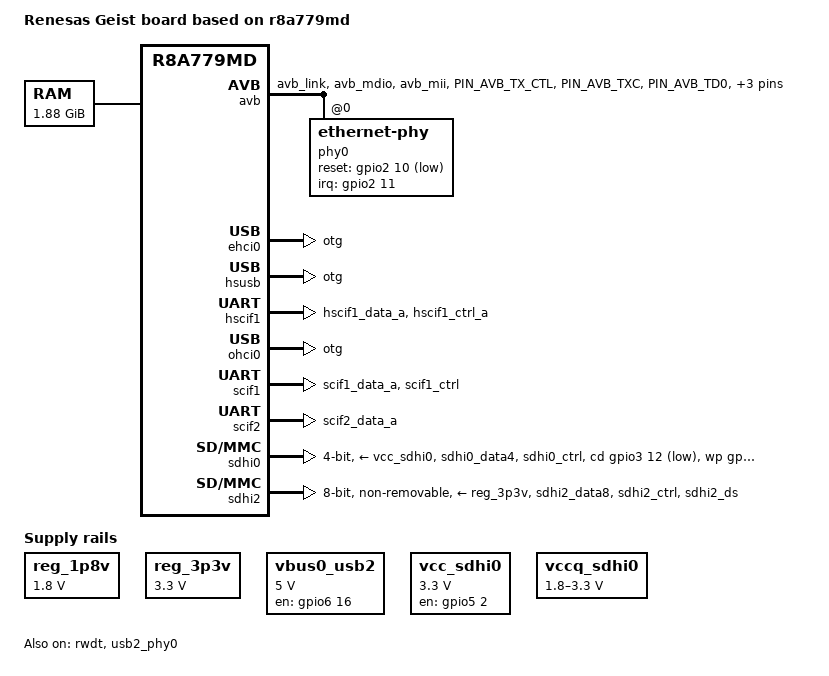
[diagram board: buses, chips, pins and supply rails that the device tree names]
// SPDX-License-Identifier: (GPL-2.0-only OR BSD-2-Clause)
/*
 * Device Tree Source for the Geist board with R-Car r8a779md
 *
 * Copyright (C) 2025 Renesas Electronics Corp.
 */

/dts-v1/;
#include <dt-bindings/gpio/gpio.h>
#include <dt-bindings/input/input.h>
#include "r8a779md.dtsi"

/ {
	model = "Renesas Geist board based on r8a779md";
	compatible = "renesas,geist", "renesas,r8a779md";

	aliases {
		serial0 = &scif2;
		serial1 = &hscif1;
		ethernet0 = &avb;
		mmc0 = &sdhi2;
		mmc1 = &sdhi0;
	};

	chosen {
		bootargs = "ignore_loglevel rw root=/dev/nfs ip=on";
		stdout-path = "serial0:115200n8";
	};

	memory@48000000 {
		device_type = "memory";
		/* first 128MB is reserved for secure area. */
		reg = <0x0 0x48000000 0x0 0x78000000>;
	};

	reg_1p8v: regulator0 {
		compatible = "regulator-fixed";
		regulator-name = "fixed-1.8V";
		regulator-min-microvolt = <1800000>;
		regulator-max-microvolt = <1800000>;
		regulator-boot-on;
		regulator-always-on;
	};

	reg_3p3v: regulator1 {
		compatible = "regulator-fixed";
		regulator-name = "fixed-3.3V";
		regulator-min-microvolt = <3300000>;
		regulator-max-microvolt = <3300000>;
		regulator-boot-on;
		regulator-always-on;
	};

	vbus0_usb2: regulator-vbus0-usb2 {
		compatible = "regulator-fixed";

		regulator-name = "USB20_VBUS0";
		regulator-min-microvolt = <5000000>;
		regulator-max-microvolt = <5000000>;

		gpio = <&gpio6 16 GPIO_ACTIVE_HIGH>;
		enable-active-high;
	};

	vcc_sdhi0: regulator-vcc-sdhi0 {
		compatible = "regulator-fixed";

		regulator-name = "SDHI0 Vcc";
		regulator-min-microvolt = <3300000>;
		regulator-max-microvolt = <3300000>;

		gpio = <&gpio5 2 GPIO_ACTIVE_HIGH>;
		enable-active-high;
	};

	vccq_sdhi0: regulator-vccq-sdhi0 {
		compatible = "regulator-gpio";

		regulator-name = "SDHI0 VccQ";
		regulator-min-microvolt = <1800000>;
		regulator-max-microvolt = <3300000>;

		gpios = <&gpio5 1 GPIO_ACTIVE_HIGH>;
		gpios-states = <1>;
		states = <3300000 1>, <1800000 0>;
	};
};

&avb {
	pinctrl-0 = <&avb_pins>;
	pinctrl-names = "default";
	phy-handle = <&phy0>;
	phy-mode = "rgmii-txid";
	status = "okay";

	phy0: ethernet-phy@0 {
		rxc-skew-ps = <1500>;
		reg = <0>;
		interrupt-parent = <&gpio2>;
		interrupts = <11 IRQ_TYPE_LEVEL_LOW>;
		reset-gpios = <&gpio2 10 GPIO_ACTIVE_LOW>;
	};
};

&ehci0 {
	dr_mode = "otg";
	status = "okay";
};

&hsusb {
	dr_mode = "otg";
	status = "okay";
};

&extalr_clk {
	clock-frequency = <32768>;
};

&hscif1 {
	pinctrl-0 = <&hscif1_pins>;
	pinctrl-names = "default";

	uart-has-rtscts;
	/* Please only enable hscif1 or scif1 */
	status = "okay";
};

&ohci0 {
	dr_mode = "otg";
	status = "okay";
};

&pfc {
	pinctrl-0 = <&scif_clk_pins>;
	pinctrl-names = "default";

	avb_pins: avb {
		mux {
			groups = "avb_link", "avb_mdio", "avb_mii";
			function = "avb";
		};

		pins_mdio {
			groups = "avb_mdio";
			drive-strength = <24>;
		};

		pins_mii_tx {
			pins = "PIN_AVB_TX_CTL", "PIN_AVB_TXC", "PIN_AVB_TD0",
			       "PIN_AVB_TD1", "PIN_AVB_TD2", "PIN_AVB_TD3";
			drive-strength = <12>;
		};
	};

	hscif1_pins: hscif1 {
		groups = "hscif1_data_a", "hscif1_ctrl_a";
		function = "hscif1";
	};

	scif1_pins: scif1 {
		groups = "scif1_data_a", "scif1_ctrl";
		function = "scif1";
	};

	scif2_pins: scif2 {
		groups = "scif2_data_a";
		function = "scif2";
	};

	scif_clk_pins: scif_clk {
		groups = "scif_clk_a";
		function = "scif_clk";
	};

	sdhi0_pins: sd0 {
		groups = "sdhi0_data4", "sdhi0_ctrl";
		function = "sdhi0";
		power-source = <3300>;
	};

	sdhi0_pins_uhs: sd0_uhs {
		groups = "sdhi0_data4", "sdhi0_ctrl";
		function = "sdhi0";
		power-source = <1800>;
	};

	sdhi2_pins: sd2 {
		groups = "sdhi2_data8", "sdhi2_ctrl", "sdhi2_ds";
		function = "sdhi2";
		power-source = <1800>;
	};

	usb0_pins: usb0 {
		groups = "usb0";
		function = "usb0";
	};
};

&rwdt {
	timeout-sec = <60>;
	status = "okay";
};

&scif1 {
	pinctrl-0 = <&scif1_pins>;
	pinctrl-names = "default";

	uart-has-rtscts;
	/* Please only enable hscif1 or scif1 */
	/* status = "okay"; */
};

&scif2 {
	pinctrl-0 = <&scif2_pins>;
	pinctrl-names = "default";

	status = "okay";
};

&scif_clk {
	clock-frequency = <14745600>;
};

&sdhi0 {
	pinctrl-0 = <&sdhi0_pins>;
	pinctrl-1 = <&sdhi0_pins_uhs>;
	pinctrl-names = "default", "state_uhs";

	vmmc-supply = <&vcc_sdhi0>;
	vqmmc-supply = <&vccq_sdhi0>;
	cd-gpios = <&gpio3 12 GPIO_ACTIVE_LOW>;
	wp-gpios = <&gpio3 13 GPIO_ACTIVE_HIGH>;
	bus-width = <4>;
	sd-uhs-sdr50;
	sd-uhs-sdr104;
	status = "okay";
};

&sdhi2 {
	/* used for on-board 8bit eMMC */
	pinctrl-0 = <&sdhi2_pins>;
	pinctrl-1 = <&sdhi2_pins>;
	pinctrl-names = "default", "state_uhs";

	iommus = <&ipmmu_ds1 34>;

	vmmc-supply = <&reg_3p3v>;
	vqmmc-supply = <&reg_1p8v>;
	bus-width = <8>;
	mmc-hs200-1_8v;
	no-sd;
	no-sdio;
	non-removable;
	fixed-emmc-driver-type = <1>;
	full-pwr-cycle-in-suspend;
	status = "okay";
};

&usb_extal_clk {
	clock-frequency = <50000000>;
};

&usb2_phy0 {
	pinctrl-0 = <&usb0_pins>;
	pinctrl-names = "default";

	vbus-supply = <&vbus0_usb2>;
	status = "okay";
};

&extal_clk {
	clock-frequency = <16666666>;
};
